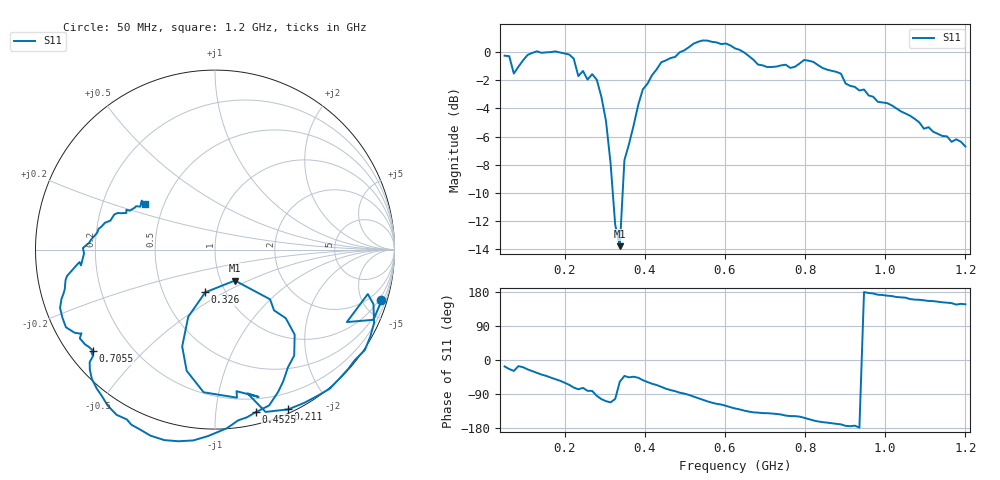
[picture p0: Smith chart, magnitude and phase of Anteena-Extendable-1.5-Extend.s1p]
# HZ S RI R 50
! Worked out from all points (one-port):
!   101 points, 50 MHz to 1.2 GHz, reference 50 ohm
!   lowest |S11| = -13.8 dB at 337.5 MHz (marker M1), VSWR 1.52, Z = 58.4 - j21 ohm
!   |S11| at or under -10 dB: 320 MHz to 344.6 MHz (24.56 MHz wide, 7.39 % of centre)
!   S11 on the Smith chart (normalised r, x): 50 MHz: 0.69, -6.63; 211 MHz: 0.04, -1.56; 326 MHz: 0.81, -0.41; 452.5 MHz: 0.09, -1.28; 705.5 MHz: 0.07, -0.36; 1.2 GHz: 0.40, +0.25
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5e7  0.9276 -0.2834
6.15e7  0.8833 -0.3912
7.3e7  0.7347 -0.4037
8.45e7  0.8513 -0.2477
1.305e8  0.8347 -0.5597
1.995e8  0.4966 -0.8541
2.11e8  0.4084 -0.89
2.225e8  0.2816 -0.9044
2.34e8  0.1809 -0.8008
2.455e8  0.2432 -0.821
2.57e8  0.1202 -0.7889
2.685e8  0.1224 -0.8251
2.8e8  -0.0634 -0.7949
3.03e8  -0.1827 -0.5397
3.26e8  -0.0541 -0.238
3.375e8  0.1108 -0.1724
3.49e8  0.3069 -0.2771
3.835e8  0.4439 -0.4738
4.525e8  0.2293 -0.9049
4.87e8  0.0664 -0.9951
5.445e8  -0.282 -1.061
6.25e8  -0.6326 -0.8122
7.055e8  -0.681 -0.5634
7.745e8  -0.7521 -0.4682
8.205e8  -0.8633 -0.3242
9.125e8  -0.755 -0.0697
1.062e9  -0.5607 0.196
1.2e9  -0.388 0.2516
